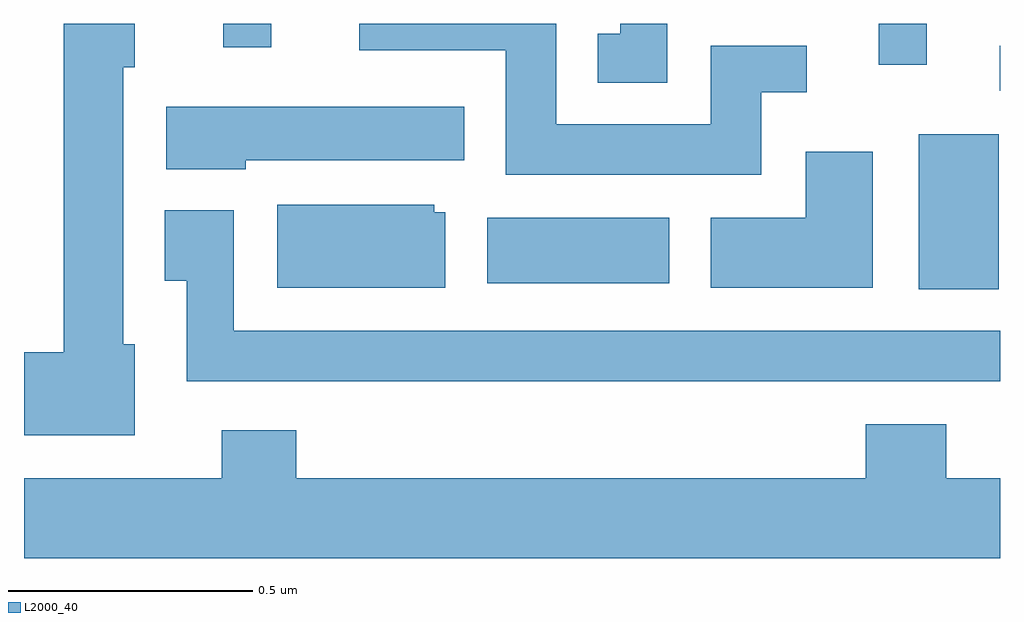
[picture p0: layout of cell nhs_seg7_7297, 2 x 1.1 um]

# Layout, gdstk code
import gdstk
lib = gdstk.Library(unit=1e-6, precision=1e-09)
def R(c, l, rs):  # rectangles x0, y0, x1, y1
    for r in rs: c.add(gdstk.rectangle(r[:2], r[2:], *l))
def P(c, l, *ps):  # polygons
    for p in ps: c.add(gdstk.Polygon(p, *l))
L2000_40 = (2000, 40)

nhs_seg7_7297 = lib.new_cell('nhs_seg7_7297')
R(nhs_seg7_7297, L2000_40, [(210.833,1046.456,210.997,1046.773), (209.949,1046.468,210.322,1046.602), (210.999,1046.862,211,1046.955), (210.752,1046.916,210.85,1047), (209.408,1046.952,209.507,1047)])
P(nhs_seg7_7297, L2000_40, [(209.227,1046.343),(209.203,1046.343),(209.203,1046.91),(209.227,1046.91),(209.227,1047),(209.081,1047),(209.081,1046.327),(209,1046.327),(209,1046.156),(209.227,1046.156)],
  [(210.511,1046.859),(210.604,1046.859),(210.604,1046.955),(210.407,1046.955),(210.407,1046.794),(210.091,1046.794),(210.091,1047),(209.687,1047),(209.687,1046.945),(209.987,1046.945),(209.987,1046.69),(210.511,1046.69)],
  [(210.318,1047),(210.222,1047),(210.222,1046.979),(210.176,1046.979),(210.176,1046.879),(210.318,1046.879)],
  [(209.454,1046.72),(209.902,1046.72),(209.902,1046.83),(209.292,1046.83),(209.292,1046.702),(209.454,1046.702)],
  [(210.739,1046.737),(210.602,1046.737),(210.602,1046.602),(210.407,1046.602),(210.407,1046.459),(210.739,1046.459)],
  [(209.863,1046.613),(209.841,1046.613),(209.841,1046.629),(209.519,1046.629),(209.519,1046.459),(209.863,1046.459)],
  [(211,1046.371),(209.43,1046.371),(209.43,1046.617),(209.288,1046.617),(209.288,1046.473),(209.333,1046.473),(209.333,1046.267),(211,1046.267)],
  [(211,1046.068),(210.89,1046.068),(210.89,1046.179),(210.725,1046.179),(210.725,1046.068),(209.558,1046.068),(209.558,1046.167),(209.405,1046.167),(209.405,1046.068),(209,1046.068),(209,1045.904),(211,1045.904)])

lib.write_gds('nhs_seg7_7297.gds')
